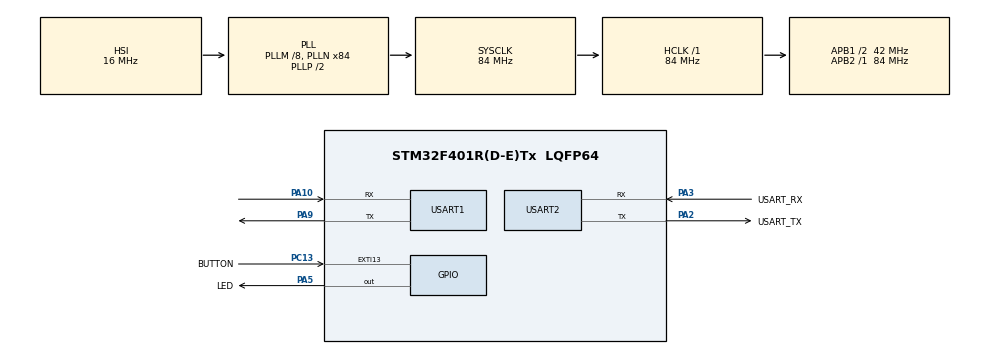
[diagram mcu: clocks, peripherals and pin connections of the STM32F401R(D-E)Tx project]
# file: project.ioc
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Dma.Request0=USART2_RX
Dma.Request1=USART2_TX
Dma.Request2=USART1_RX
Dma.Request3=USART1_TX
Dma.USART1_RX.2.Direction=DMA_PERIPH_TO_MEMORY
Dma.USART1_RX.2.FIFOMode=DMA_FIFOMODE_DISABLE
Dma.USART1_RX.2.Instance=DMA2_Stream2
Dma.USART1_RX.2.MemDataAlignment=DMA_MDATAALIGN_BYTE
Dma.USART1_RX.2.MemInc=DMA_MINC_ENABLE
Dma.USART1_RX.2.Mode=DMA_NORMAL
Dma.USART1_RX.2.PeriphDataAlignment=DMA_PDATAALIGN_BYTE
Dma.USART1_RX.2.PeriphInc=DMA_PINC_DISABLE
Dma.USART1_RX.2.Priority=DMA_PRIORITY_HIGH
Dma.USART1_TX.3.Direction=DMA_MEMORY_TO_PERIPH
Dma.USART1_TX.3.FIFOMode=DMA_FIFOMODE_DISABLE
Dma.USART1_TX.3.Instance=DMA2_Stream7
Dma.USART1_TX.3.MemDataAlignment=DMA_MDATAALIGN_BYTE
Dma.USART1_TX.3.MemInc=DMA_MINC_ENABLE
Dma.USART1_TX.3.Mode=DMA_NORMAL
Dma.USART1_TX.3.PeriphDataAlignment=DMA_PDATAALIGN_BYTE
Dma.USART1_TX.3.PeriphInc=DMA_PINC_DISABLE
Dma.USART1_TX.3.Priority=DMA_PRIORITY_HIGH
Dma.USART2_RX.0.Direction=DMA_PERIPH_TO_MEMORY
Dma.USART2_RX.0.FIFOMode=DMA_FIFOMODE_DISABLE
Dma.USART2_RX.0.Instance=DMA1_Stream5
Dma.USART2_RX.0.MemDataAlignment=DMA_MDATAALIGN_BYTE
Dma.USART2_RX.0.MemInc=DMA_MINC_ENABLE
Dma.USART2_RX.0.Mode=DMA_NORMAL
Dma.USART2_RX.0.PeriphDataAlignment=DMA_PDATAALIGN_BYTE
Dma.USART2_RX.0.PeriphInc=DMA_PINC_DISABLE
Dma.USART2_RX.0.Priority=DMA_PRIORITY_VERY_HIGH
Dma.USART2_TX.1.Direction=DMA_MEMORY_TO_PERIPH
Dma.USART2_TX.1.FIFOMode=DMA_FIFOMODE_DISABLE
Dma.USART2_TX.1.Instance=DMA1_Stream6
Dma.USART2_TX.1.MemDataAlignment=DMA_MDATAALIGN_BYTE
Dma.USART2_TX.1.MemInc=DMA_MINC_ENABLE
Dma.USART2_TX.1.Mode=DMA_NORMAL
Dma.USART2_TX.1.PeriphDataAlignment=DMA_PDATAALIGN_BYTE
Dma.USART2_TX.1.PeriphInc=DMA_PINC_DISABLE
Dma.USART2_TX.1.Priority=DMA_PRIORITY_VERY_HIGH
GISTRE.libgcov9.0.1.3.GCOVCcCompilerJjIO=true
MBEDTLS.MBEDTLS_CIPHER_MODE_CBC=1
MBEDTLS.MBEDTLS_RNG_IP=SW_RNG
Mcu.Family=STM32F4
Mcu.Name=STM32F401R(D-E)Tx
Mcu.Package=LQFP64
NVIC.DMA1_Stream5_IRQn=true\:0\:0\:false\:false\:true\:false\:true\:true
NVIC.DMA1_Stream6_IRQn=true\:0\:0\:false\:false\:true\:false\:true\:true
NVIC.DMA2_Stream2_IRQn=true\:0\:0\:false\:false\:true\:false\:true\:true
NVIC.DMA2_Stream7_IRQn=true\:0\:0\:false\:false\:true\:false\:true\:true
NVIC.EXTI15_10_IRQn=true\:0\:0\:false\:false\:true\:true\:true\:true
NVIC.PriorityGroup=NVIC_PRIORITYGROUP_0
NVIC.TIM1_TRG_COM_TIM11_IRQn=true\:0\:0\:false\:false\:true\:true\:true\:true
NVIC.TIM1_UP_TIM10_IRQn=true\:0\:0\:false\:false\:true\:true\:true\:true
NVIC.USART1_IRQn=true\:0\:0\:false\:false\:true\:true\:true\:true
NVIC.USART2_IRQn=true\:0\:0\:false\:false\:true\:true\:true\:true
PA10.Mode=Asynchronous
PA10.Signal=USART1_RX
PA13.GPIO_Label=TMS
PA13.Signal=SYS_JTMS-SWDIO
PA14.GPIO_Label=TCK
PA14.Signal=SYS_JTCK-SWCLK
PA2.GPIO_Label=USART_TX
PA2.GPIO_Mode=GPIO_MODE_AF_PP
PA2.GPIO_PuPd=GPIO_NOPULL
PA2.GPIO_Speed=GPIO_SPEED_FREQ_LOW
PA2.Mode=Asynchronous
PA2.Signal=USART2_TX
PA3.GPIO_Label=USART_RX
PA3.GPIO_Mode=GPIO_MODE_AF_PP
PA3.GPIO_PuPd=GPIO_NOPULL
PA3.GPIO_Speed=GPIO_SPEED_FREQ_LOW
PA3.Mode=Asynchronous
PA3.Signal=USART2_RX
PA5.GPIO_Label=LED
PA5.GPIO_PuPd=GPIO_NOPULL
PA5.Signal=GPIO_Output
PA9.Mode=Asynchronous
PA9.Signal=USART1_TX
PB3.GPIO_Label=SWO
PB3.Signal=SYS_JTDO-SWO
PC13-ANTI_TAMP.GPIO_Label=BUTTON
PC13-ANTI_TAMP.GPIO_ModeDefaultEXTI=GPIO_MODE_IT_RISING
PC13-ANTI_TAMP.Signal=GPXTI13
PC14-OSC32_IN.Signal=RCC_OSC32_IN
PC15-OSC32_OUT.Signal=RCC_OSC32_OUT
PH0\ -\ OSC_IN.Mode=HSE-External-Oscillator
PH0\ -\ OSC_IN.Signal=RCC_OSC_IN
PH1\ -\ OSC_OUT.Mode=HSE-External-Oscillator
PH1\ -\ OSC_OUT.Signal=RCC_OSC_OUT
ProjectManager.HeapSize=0x200
ProjectManager.StackSize=0x400
ProjectManager.TargetToolchain=Makefile
RCC.48MHZClocksFreq_Value=24000000
RCC.AHBFreq_Value=84000000
RCC.APB1CLKDivider=RCC_HCLK_DIV2
RCC.APB1Freq_Value=42000000
RCC.APB1TimFreq_Value=84000000
RCC.APB2Freq_Value=84000000
RCC.APB2TimFreq_Value=84000000
RCC.CortexFreq_Value=84000000
RCC.HCLKFreq_Value=84000000
RCC.HSE_VALUE=8000000
RCC.HSI_VALUE=16000000
RCC.LSE_VALUE=32768
RCC.PLLM=8
RCC.PLLN=84
RCC.PLLQ=7
RCC.SYSCLKFreq_VALUE=84000000
RCC.SYSCLKSource=RCC_SYSCLKSOURCE_PLLCLK
RCC.VCOOutputFreq_Value=168000000
TIM10.Period=6999
TIM10.Prescaler=2999
TIM11.Period=49999
TIM11.Prescaler=25199
USART1.VirtualMode=VM_ASYNC
USART2.VirtualMode=VM_ASYNC
VP_GISTRE.libgcov9_VS_CompilerJjGCOV_0.1.0_0.1.3.Mode=CompilerJjGCOV
VP_MBEDTLS_VS_MBEDTLS.Mode=Enabled
VP_TIM10_VS_ClockSourceINT.Mode=Enable_Timer
VP_TIM11_VS_ClockSourceINT.Mode=Enable_Timer
board=NUCLEO-F401RE

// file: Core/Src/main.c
/* USER CODE BEGIN Header */
/**
 ******************************************************************************
 * @file           : main.c
 * @brief          : Main program body
 ******************************************************************************
 * @attention
 *
 * Copyright (c) 2023 STMicroelectronics.
 * All rights reserved.
 *
 * This software is licensed under terms that can be found in the LICENSE file
 * in the root directory of this software component.
 * If no LICENSE file comes with this software, it is provided AS-IS.
 *
 ******************************************************************************
 */
/* USER CODE END Header */
#include "main.h"
#include "mbedtls.h"

/* USER CODE BEGIN Includes */
#include "mbedtls/aes.h"
#include "mbedtls/ctr_drbg.h"
#include "mbedtls/entropy.h"
#include "utils.h"
#include "libgcov9_coverage.h"
/* USER CODE END Includes */

/* USER CODE BEGIN PD */
#define BUFFER_SIZE 512
#define KEY_SIZE_BITS 256
#define IV_SIZE 16
/* USER CODE END PD */

TIM_HandleTypeDef htim10;
TIM_HandleTypeDef htim11;

UART_HandleTypeDef huart1;
UART_HandleTypeDef huart2;
DMA_HandleTypeDef hdma_usart1_rx;
DMA_HandleTypeDef hdma_usart1_tx;
DMA_HandleTypeDef hdma_usart2_rx;
DMA_HandleTypeDef hdma_usart2_tx;

/* USER CODE BEGIN PV */
enum STATE
{
  IDLE = 0,
  WAITING,
  COMMUNICATING
};

enum Command
{
  GEN = 0,
  ENC,
  DEC
};

struct __attribute__((__packed__)) header
{
  uint8_t cmd;
  size_t payload_length;
};

enum STATE state = IDLE;
uint8_t header_str[5] = { 0 };
uint8_t data[BUFFER_SIZE] = { 0 };
uint8_t crypted_data[BUFFER_SIZE] = { 0 };
struct header *head = { 0 };
__attribute__((section(".reserved"))) uint8_t key[32];
uint8_t iv[IV_SIZE] = { 0 };
uint8_t iv_data[IV_SIZE + BUFFER_SIZE] = { 0 };

/* USER CODE END PV */

void SystemClock_Config(void);
static void MX_GPIO_Init(void);
static void MX_DMA_Init(void);
static void MX_TIM10_Init(void);
static void MX_TIM11_Init(void);
static void MX_USART2_UART_Init(void);
static void MX_USART1_UART_Init(void);

/* USER CODE BEGIN 0 */
int generate_random(int key, size_t len)
{
  mbedtls_ctr_drbg_context ctr_drbg;
  mbedtls_entropy_context entropy;

  mbedtls_entropy_init(&entropy);

  mbedtls_ctr_drbg_init(&ctr_drbg);

  mbedtls_ctr_drbg_seed(&ctr_drbg, mbedtls_entropy_func, &entropy, NULL, 0);

  if (key)
  {
    uint8_t key_tmp[32] = { 0 };

    if (mbedtls_ctr_drbg_random_with_add(
            &ctr_drbg, key_tmp, 32, (const unsigned char *)HAL_GetTick(), 1)
        != 0)
    {
      return 0;
    }
    Write_Flash(key_tmp);
  }
  else
  {
    if (mbedtls_ctr_drbg_random_with_add(
            &ctr_drbg, iv, IV_SIZE, (const unsigned char *)HAL_GetTick(), 1)
        != 0)
      return 0;
  }
  return 1;
}

int encrypt()
{
  mbedtls_aes_context aes;
  if (mbedtls_aes_setkey_enc(&aes, key, KEY_SIZE_BITS))
  {
    return 0;
  }

  _memset(crypted_data, 0, BUFFER_SIZE);
  _memset(iv_data, 0, IV_SIZE + BUFFER_SIZE);
  _strncpy((char *)iv_data, (char *)iv, IV_SIZE);
  if (mbedtls_aes_crypt_cbc(&aes, MBEDTLS_AES_ENCRYPT, BUFFER_SIZE, iv, data,
                            crypted_data))
    return 0;
  _strncpy((char *)&iv_data[IV_SIZE], (char *)crypted_data, BUFFER_SIZE);
  return 1;
}

int decrypt()
{
  mbedtls_aes_context aes;
  if (mbedtls_aes_setkey_dec(&aes, key, KEY_SIZE_BITS))
  {
    return 0;
  }
  _memset(iv, 0, IV_SIZE);
  _memset(data, 0, BUFFER_SIZE);
  _memset(crypted_data, 0, BUFFER_SIZE);
  _strncpy((char *)iv, (char *)iv_data, IV_SIZE);
  _strncpy((char *)data, (char *)&iv_data[IV_SIZE], BUFFER_SIZE);
  if (mbedtls_aes_crypt_cbc(&aes, MBEDTLS_AES_DECRYPT, BUFFER_SIZE, iv, data,
                            crypted_data))
    return 0;
  return 1;
}
int key_present()
{
  int nb_zeros = 0;
  for (int i = 0; i < 32; i++)
  {
    if (key[i] == 0)
      nb_zeros++;
  }
  if (nb_zeros == 32)
    return 0;
  return 1;
}

int parse_header()
{
  if (head->cmd == GEN)
  {
    if (!generate_random(1, 32))
      return 0;
    HAL_UART_Transmit_DMA(&huart2, (uint8_t *)"OK", 2);
    state = IDLE;
    HAL_UART_Receive_DMA(&huart2, header_str, 5);
    HAL_TIM_Base_Start_IT(&htim10);
  }
  else if (head->cmd == ENC)
  {
    if (!generate_random(0, IV_SIZE) || head->payload_length == 0
        || !key_present())
    {
      return 0;
    }

    HAL_UART_Transmit_DMA(&huart2, (uint8_t *)"OK", 2);
    state = COMMUNICATING;
    HAL_UART_Receive_DMA(&huart2, data, BUFFER_SIZE);
  }
  else if (head->cmd == DEC)
  {
    if (head->payload_length == 0 || !key_present())
      return 0;
    HAL_UART_Transmit_DMA(&huart2, (uint8_t *)"OK", 2);
    state = COMMUNICATING;
    HAL_UART_Receive_DMA(&huart2, iv_data, BUFFER_SIZE + IV_SIZE);
  }
  return 1;
}

void communicate()
{
  if (head->cmd == ENC)
  {
    int ret = encrypt();
    if (ret == 0)
    {
      uint8_t error[BUFFER_SIZE + IV_SIZE] = { 0 };
      _strncpy((char *)error, "ENCRYPTION ERROR", 16);
      HAL_UART_Transmit_DMA(&huart2, error, BUFFER_SIZE + IV_SIZE);
    }
    else
    {
      HAL_UART_Transmit_DMA(&huart2, iv_data, BUFFER_SIZE + IV_SIZE);
    }
  }
  else if (head->cmd == DEC)
  {
    int ret = decrypt();
    if (ret == 0)
    {
      uint8_t error[BUFFER_SIZE] = { 0 };
      _strncpy((char *)error, "DECRYPTION ERROR", 16);
      HAL_UART_Transmit_DMA(&huart2, error, BUFFER_SIZE);
    }
    else
    {
      HAL_UART_Transmit_DMA(&huart2, crypted_data, BUFFER_SIZE);
    }
  }
}

void HAL_UART_RxCpltCallback(UART_HandleTypeDef *huart)
{
  UART_callback(huart);
  if (state == IDLE)
  {
    HAL_UART_Receive_DMA(&huart2, header_str, 5);
    HAL_UART_Transmit_DMA(&huart2, (uint8_t *)"KO", 2);
    return;
  }

  if (state == WAITING)
  {
    HAL_TIM_Base_Stop_IT(&htim11);
    head = (struct header *)header_str;
    if (!parse_header())
    {
      HAL_UART_Transmit_DMA(&huart2, (uint8_t *)"KO", 2);
      state = IDLE;
      HAL_UART_Receive_DMA(&huart2, header_str, 5);
      HAL_TIM_Base_Start_IT(&htim10);
    }
  }
  else if (state == COMMUNICATING)
  {
    head->payload_length -= 1;
    communicate();
    if (head->payload_length == 0)
    {
      state = IDLE;
      HAL_UART_Receive_DMA(&huart2, header_str, 5);
      HAL_TIM_Base_Start_IT(&htim10);
    }
    else if (head->cmd == ENC)
    {
      HAL_UART_Receive_DMA(&huart2, data, BUFFER_SIZE);
    }
    else if (head->cmd == DEC)
    {
      HAL_UART_Receive_DMA(&huart2, iv_data, BUFFER_SIZE + IV_SIZE);
    }
  }
}

// callback de fin de timer
void HAL_TIM_PeriodElapsedCallback(TIM_HandleTypeDef *htim)
{
  if (htim == &htim10 && state == IDLE)
  {
    HAL_GPIO_TogglePin(LED_GPIO_Port, LED_Pin);
  }
  if (htim == &htim11 && state == WAITING)
  {
    HAL_TIM_Base_Start_IT(&htim10);
    HAL_TIM_Base_Stop_IT(&htim11);
    state = IDLE;
  }
}

/*
 * callback lors de l'appui du bouton
 * Stopper le timer du clignotement de led
 * Allumer la led
 * Demarrer le timer de 15sec pour la communication
 */
void HAL_GPIO_EXTI_Callback(uint16_t GPIO_Pin)
{
  if (GPIO_Pin == BUTTON_Pin && state == IDLE)
  {
    HAL_GPIO_WritePin(LED_GPIO_Port, LED_Pin, GPIO_PIN_SET);
    HAL_TIM_Base_Stop_IT(&htim10);
    HAL_TIM_Base_Start_IT(&htim11);
    state = WAITING;
  }
}

/* USER CODE END 0 */

int main(void)
{

  /* MCU Configuration--------------------------------------------------------*/

  /* Reset of all peripherals, Initializes the Flash interface and the Systick. */
  HAL_Init();

  /* Configure the system clock */
  SystemClock_Config();

  /* Initialize all configured peripherals */
  MX_GPIO_Init();
  MX_DMA_Init();
  MX_TIM10_Init();
  MX_TIM11_Init();
  MX_USART2_UART_Init();
  MX_MBEDTLS_Init();
  MX_USART1_UART_Init();
  /* USER CODE BEGIN 2 */
  HAL_TIM_Base_Start_IT(&htim10);

  /* USER CODE END 2 */

  /* Infinite loop */
  /* USER CODE BEGIN WHILE */
  gcov_init();
  HAL_UART_Receive_DMA(&huart2, header_str, 5); // read header of fixed size
  while (1)
  {
    /* USER CODE END WHILE */

  }
}

void SystemClock_Config(void)
{
  RCC_OscInitTypeDef RCC_OscInitStruct = {0};
  RCC_ClkInitTypeDef RCC_ClkInitStruct = {0};

  /** Configure the main internal regulator output voltage
  */
  __HAL_RCC_PWR_CLK_ENABLE();
  __HAL_PWR_VOLTAGESCALING_CONFIG(PWR_REGULATOR_VOLTAGE_SCALE2);

  /** Initializes the RCC Oscillators according to the specified parameters
  * in the RCC_OscInitTypeDef structure.
  */
  RCC_OscInitStruct.OscillatorType = RCC_OSCILLATORTYPE_HSI;
  RCC_OscInitStruct.HSIState = RCC_HSI_ON;
  RCC_OscInitStruct.HSICalibrationValue = RCC_HSICALIBRATION_DEFAULT;
  RCC_OscInitStruct.PLL.PLLState = RCC_PLL_ON;
  RCC_OscInitStruct.PLL.PLLSource = RCC_PLLSOURCE_HSI;
  RCC_OscInitStruct.PLL.PLLM = 8;
  RCC_OscInitStruct.PLL.PLLN = 84;
  RCC_OscInitStruct.PLL.PLLP = RCC_PLLP_DIV2;
  RCC_OscInitStruct.PLL.PLLQ = 7;
  if (HAL_RCC_OscConfig(&RCC_OscInitStruct) != HAL_OK)
  {
    Error_Handler();
  }

  /** Initializes the CPU, AHB and APB buses clocks
  */
  RCC_ClkInitStruct.ClockType = RCC_CLOCKTYPE_HCLK|RCC_CLOCKTYPE_SYSCLK
                              |RCC_CLOCKTYPE_PCLK1|RCC_CLOCKTYPE_PCLK2;
  RCC_ClkInitStruct.SYSCLKSource = RCC_SYSCLKSOURCE_PLLCLK;
  RCC_ClkInitStruct.AHBCLKDivider = RCC_SYSCLK_DIV1;
  RCC_ClkInitStruct.APB1CLKDivider = RCC_HCLK_DIV2;
  RCC_ClkInitStruct.APB2CLKDivider = RCC_HCLK_DIV1;

  if (HAL_RCC_ClockConfig(&RCC_ClkInitStruct, FLASH_LATENCY_2) != HAL_OK)
  {
    Error_Handler();
  }
}

static void MX_TIM10_Init(void)
{

  htim10.Instance = TIM10;
  htim10.Init.Prescaler = 2999;
  htim10.Init.CounterMode = TIM_COUNTERMODE_UP;
  htim10.Init.Period = 6999;
  htim10.Init.ClockDivision = TIM_CLOCKDIVISION_DIV1;
  htim10.Init.AutoReloadPreload = TIM_AUTORELOAD_PRELOAD_DISABLE;
  if (HAL_TIM_Base_Init(&htim10) != HAL_OK)
  {
    Error_Handler();
  }

}

static void MX_TIM11_Init(void)
{

  htim11.Instance = TIM11;
  htim11.Init.Prescaler = 25199;
  htim11.Init.CounterMode = TIM_COUNTERMODE_UP;
  htim11.Init.Period = 49999;
  htim11.Init.ClockDivision = TIM_CLOCKDIVISION_DIV1;
  htim11.Init.AutoReloadPreload = TIM_AUTORELOAD_PRELOAD_DISABLE;
  if (HAL_TIM_Base_Init(&htim11) != HAL_OK)
  {
    Error_Handler();
  }

}

static void MX_USART1_UART_Init(void)
{

  huart1.Instance = USART1;
  huart1.Init.BaudRate = 115200;
  huart1.Init.WordLength = UART_WORDLENGTH_8B;
  huart1.Init.StopBits = UART_STOPBITS_1;
  huart1.Init.Parity = UART_PARITY_NONE;
  huart1.Init.Mode = UART_MODE_TX_RX;
  huart1.Init.HwFlowCtl = UART_HWCONTROL_NONE;
  huart1.Init.OverSampling = UART_OVERSAMPLING_16;
  if (HAL_UART_Init(&huart1) != HAL_OK)
  {
    Error_Handler();
  }

}

static void MX_USART2_UART_Init(void)
{

  huart2.Instance = USART2;
  huart2.Init.BaudRate = 115200;
  huart2.Init.WordLength = UART_WORDLENGTH_8B;
  huart2.Init.StopBits = UART_STOPBITS_1;
  huart2.Init.Parity = UART_PARITY_NONE;
  huart2.Init.Mode = UART_MODE_TX_RX;
  huart2.Init.HwFlowCtl = UART_HWCONTROL_NONE;
  huart2.Init.OverSampling = UART_OVERSAMPLING_16;
  if (HAL_UART_Init(&huart2) != HAL_OK)
  {
    Error_Handler();
  }

}

static void MX_DMA_Init(void)
{

  /* DMA controller clock enable */
  __HAL_RCC_DMA1_CLK_ENABLE();
  __HAL_RCC_DMA2_CLK_ENABLE();

  /* DMA interrupt init */
  /* DMA1_Stream5_IRQn interrupt configuration */
  HAL_NVIC_SetPriority(DMA1_Stream5_IRQn, 0, 0);
  HAL_NVIC_EnableIRQ(DMA1_Stream5_IRQn);
  /* DMA1_Stream6_IRQn interrupt configuration */
  HAL_NVIC_SetPriority(DMA1_Stream6_IRQn, 0, 0);
  HAL_NVIC_EnableIRQ(DMA1_Stream6_IRQn);
  /* DMA2_Stream2_IRQn interrupt configuration */
  HAL_NVIC_SetPriority(DMA2_Stream2_IRQn, 0, 0);
  HAL_NVIC_EnableIRQ(DMA2_Stream2_IRQn);
  /* DMA2_Stream7_IRQn interrupt configuration */
  HAL_NVIC_SetPriority(DMA2_Stream7_IRQn, 0, 0);
  HAL_NVIC_EnableIRQ(DMA2_Stream7_IRQn);

}

static void MX_GPIO_Init(void)
{
  GPIO_InitTypeDef GPIO_InitStruct = {0};

  /* GPIO Ports Clock Enable */
  __HAL_RCC_GPIOC_CLK_ENABLE();
  __HAL_RCC_GPIOH_CLK_ENABLE();
  __HAL_RCC_GPIOA_CLK_ENABLE();
  __HAL_RCC_GPIOB_CLK_ENABLE();

  /*Configure GPIO pin Output Level */
  HAL_GPIO_WritePin(LED_GPIO_Port, LED_Pin, GPIO_PIN_RESET);

  /*Configure GPIO pin : BUTTON_Pin */
  GPIO_InitStruct.Pin = BUTTON_Pin;
  GPIO_InitStruct.Mode = GPIO_MODE_IT_RISING;
  GPIO_InitStruct.Pull = GPIO_NOPULL;
  HAL_GPIO_Init(BUTTON_GPIO_Port, &GPIO_InitStruct);

  /*Configure GPIO pin : LED_Pin */
  GPIO_InitStruct.Pin = LED_Pin;
  GPIO_InitStruct.Mode = GPIO_MODE_OUTPUT_PP;
  GPIO_InitStruct.Pull = GPIO_NOPULL;
  GPIO_InitStruct.Speed = GPIO_SPEED_FREQ_LOW;
  HAL_GPIO_Init(LED_GPIO_Port, &GPIO_InitStruct);

  /* EXTI interrupt init*/
  HAL_NVIC_SetPriority(EXTI15_10_IRQn, 0, 0);
  HAL_NVIC_EnableIRQ(EXTI15_10_IRQn);

}

void Error_Handler(void)
{
  /* USER CODE BEGIN Error_Handler_Debug */
  /* User can add his own implementation to report the HAL error return state
   */
  __disable_irq();
  while (1)
  {}
  /* USER CODE END Error_Handler_Debug */
}

#ifdef  USE_FULL_ASSERT
/**
  * @brief  Reports the name of the source file and the source line number
  *         where the assert_param error has occurred.
  * @param  file: pointer to the source file name
  * @param  line: assert_param error line source number
  * @retval None
  */
void assert_failed(uint8_t *file, uint32_t line)
{
  /* USER CODE BEGIN 6 */
  /* User can add his own implementation to report the file name and line
     number, ex: printf("Wrong parameters value: file %s on line %d\r\n",
     file, line) */
  /* USER CODE END 6 */
}
#endif /* USE_FULL_ASSERT */
